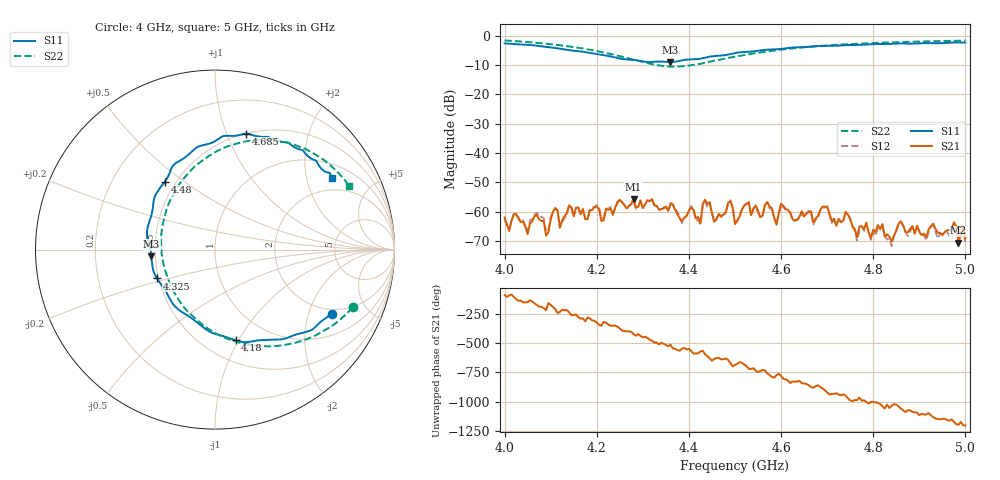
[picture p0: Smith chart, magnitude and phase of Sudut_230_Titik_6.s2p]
# Hz S RI R 50
! CMT, C1220, 16058040, 17.2.0/1
! Date: 15/08/2018 12:12:38
! Data: Format (Calibration Info)
! Freq  S11: Re/Im (F2)  S21: Re/Im (F2)  S12: Re/Im (F2)  S22: Re/Im (F2)
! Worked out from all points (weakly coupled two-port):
!   201 points, 4 GHz to 5 GHz, reference 50 ohm
!   highest |S21| = -55.67 dB at 4.28 GHz (marker M1); lowest = -70.6 dB at 4.985 GHz (marker M2)
!   lowest |S11| = -9.0 dB at 4.36 GHz (marker M3), VSWR 2.11, Z = 23.8 - j2.04 ohm
!   |S11| at or under -10 dB: nowhere
!   |S22| runs from -10.5 to -1.6 dB; largest |S21 - S12| = 0.00015
!   S11 on the Smith chart (normalised r, x): 4 GHz: 1.80, -2.86; 4.18 GHz: 0.70, -0.97; 4.325 GHz: 0.49, -0.18; 4.48 GHz: 0.44, +0.42; 4.685 GHz: 0.50, +1.17; 5 GHz: 1.47, +2.85
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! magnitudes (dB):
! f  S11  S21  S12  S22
! 4 GHz  -2.6  -62.0  -62.5  -1.6
! 4.09 GHz  -3.8  -68.2  -66.9  -2.7
! 4.11 GHz  -4.2  -58.9  -58.6  -3.0
! 4.12 GHz  -4.4  -65.4  -65.6  -3.2
! 4.17 GHz  -5.5  -59.2  -58.9  -4.4
! 4.18 GHz  -5.7  -62.6  -62.4  -4.6
! 4.28 GHz  -8.2  -55.7  -56.5  -8.2
! 4.325 GHz  -8.8  -57.9  -57.7  -9.8
! 4.335 GHz  -8.8  -59.3  -59.3  -10.1
! 4.36 GHz  -9.0  -57.4  -57.0  -10.5
! 4.385 GHz  -8.4  -63.3  -64.0  -10.4
! 4.435 GHz  -7.5  -55.9  -56.5  -9.2
! 4.48 GHz  -6.6  -60.3  -60.4  -7.7
! 4.49 GHz  -6.3  -56.4  -56.1  -7.4
! 4.5 GHz  -5.9  -64.2  -63.3  -7.1
! 4.53 GHz  -5.5  -56.8  -57.0  -6.3
! 4.67 GHz  -3.6  -63.7  -64.4  -3.7
! 4.685 GHz  -3.5  -59.4  -59.8  -3.5
! 4.835 GHz  -2.8  -68.5  -69.2  -2.3
! 4.975 GHz  -2.3  -63.6  -64.8  -1.7
! 4.985 GHz  -2.3  -70.6  -69.6  -1.7
! 5 GHz  -2.3  -69.1  -70.7  -1.6
